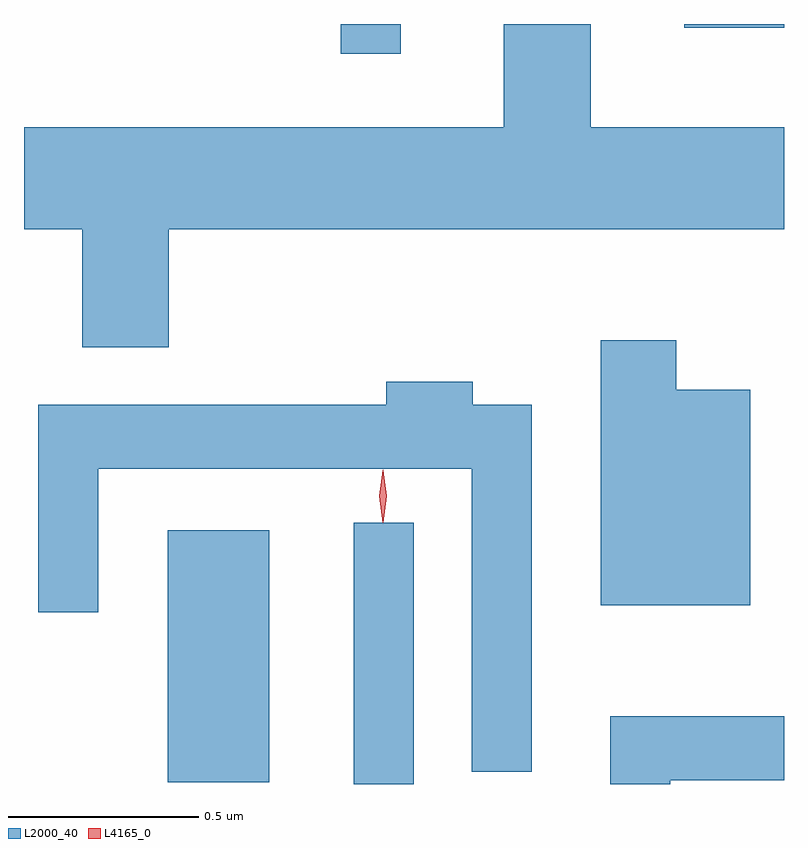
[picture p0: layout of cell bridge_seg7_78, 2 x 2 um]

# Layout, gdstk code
import gdstk
lib = gdstk.Library(unit=1e-6, precision=1e-09)
def R(c, l, rs):  # rectangles x0, y0, x1, y1
    for r in rs: c.add(gdstk.rectangle(r[:2], r[2:], *l))
def P(c, l, *ps):  # polygons
    for p in ps: c.add(gdstk.Polygon(p, *l))
L2000_40 = (2000, 40)
L4165_0 = (4165, 0)

bridge_seg7_78 = lib.new_cell('bridge_seg7_78')
R(bridge_seg7_78, L2000_40, [(1483.376,1755.036,1483.534,1755.723), (1482.886,1755.041,1483.154,1755.704), (1483.341,1756.958,1483.499,1757.036), (1484.246,1757.026,1484.508,1757.036)])
P(bridge_seg7_78, L2000_40, [(1482.889,1756.496),(1484.508,1756.496),(1484.508,1756.764),(1483.999,1756.764),(1483.999,1757.036),(1483.771,1757.036),(1483.771,1756.764),(1482.508,1756.764),(1482.508,1756.496),(1482.661,1756.496),(1482.661,1756.186),(1482.889,1756.186)],
  [(1484.419,1756.074),(1484.224,1756.074),(1484.224,1756.204),(1484.026,1756.204),(1484.026,1755.506),(1484.419,1755.506)],
  [(1483.844,1756.034),(1483.689,1756.034),(1483.689,1756.094),(1483.461,1756.094),(1483.461,1756.034),(1482.546,1756.034),(1482.546,1755.488),(1482.704,1755.488),(1482.704,1755.866),(1483.686,1755.866),(1483.686,1755.068),(1483.844,1755.068)],
  [(1484.209,1755.046),(1484.508,1755.046),(1484.508,1755.214),(1484.051,1755.214),(1484.051,1755.036),(1484.209,1755.036)])
P(bridge_seg7_78, L4165_0, [(1483.453,1755.723),(1483.452,1755.724),(1483.443,1755.793),(1483.452,1755.862),(1483.453,1755.863),(1483.454,1755.862),(1483.463,1755.793),(1483.454,1755.724)],
  [(1483.452,1755.727),(1483.443,1755.794),(1483.452,1755.86),(1483.453,1755.86),(1483.454,1755.86),(1483.463,1755.794),(1483.454,1755.727),(1483.453,1755.727)])

lib.write_gds('bridge_seg7_78.gds')
